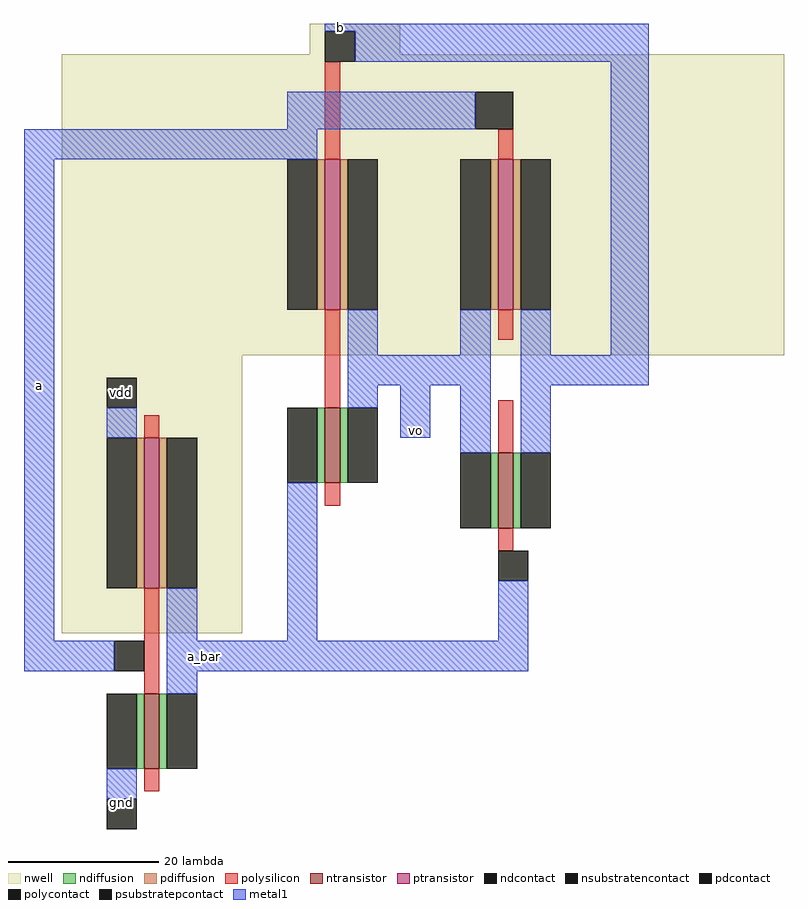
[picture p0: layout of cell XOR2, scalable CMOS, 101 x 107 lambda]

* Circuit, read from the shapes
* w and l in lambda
.subckt XOR2 a a_bar b gnd vdd vo
M1 a_bar a gnd gnd nfet w=10 l=2
M2 vo b a_bar gnd nfet w=10 l=2
M3 b a_bar vo gnd nfet w=10 l=2
M4 a_bar a vdd vdd pfet w=20 l=2
M5 vo b a vdd pfet w=20 l=2
M6 b a vo vdd pfet w=20 l=2
.ends

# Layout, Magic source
magic
tech scmos
<< nwell >>
rect 33 103 45 107
rect 0 63 96 103
rect 0 26 24 63
<< ntransistor >>
rect 35 46 37 56
rect 58 40 60 50
rect 11 8 13 18
<< ptransistor >>
rect 35 69 37 89
rect 58 69 60 89
rect 11 32 13 52
<< ndiffusion >>
rect 34 46 35 56
rect 37 46 38 56
rect 57 40 58 50
rect 60 40 61 50
rect 10 8 11 18
rect 13 8 14 18
<< pdiffusion >>
rect 34 69 35 89
rect 37 69 38 89
rect 57 69 58 89
rect 60 69 61 89
rect 10 32 11 52
rect 13 32 14 52
<< ndcontact >>
rect 30 46 34 56
rect 38 46 42 56
rect 53 40 57 50
rect 61 40 65 50
rect 6 8 10 18
rect 14 8 18 18
<< pdcontact >>
rect 30 69 34 89
rect 38 69 42 89
rect 53 69 57 89
rect 61 69 65 89
rect 6 32 10 52
rect 14 32 18 52
<< psubstratepcontact >>
rect 6 0 10 4
<< nsubstratencontact >>
rect 6 56 10 60
<< polysilicon >>
rect 35 89 37 102
rect 58 89 60 93
rect 35 56 37 69
rect 58 65 60 69
rect 11 52 13 55
rect 58 50 60 57
rect 35 43 37 46
rect 58 37 60 40
rect 11 18 13 32
rect 11 5 13 8
<< polycontact >>
rect 35 102 39 106
rect 55 93 60 98
rect 58 33 62 37
rect 7 21 11 25
<< metal1 >>
rect 35 106 78 107
rect 39 102 78 106
rect 30 93 55 98
rect -5 89 34 93
rect -5 25 -1 89
rect 38 63 42 69
rect 53 63 57 69
rect 38 59 57 63
rect 38 56 42 59
rect 6 52 10 56
rect 14 25 18 32
rect 45 52 49 59
rect 53 50 57 59
rect 30 25 34 46
rect 61 63 65 69
rect 73 63 78 102
rect 61 59 78 63
rect 61 50 65 59
rect 58 25 62 33
rect -5 21 7 25
rect 14 21 62 25
rect 14 18 18 21
rect 6 4 10 8
<< labels >>
rlabel metal1 6 57 10 59 5 vdd
rlabel metal1 6 3 10 4 1 gnd
rlabel metal1 -5 57 -1 61 3 a
rlabel metal1 35 106 39 107 5 b
rlabel metal1 45 52 49 54 1 vo
rlabel metal1 18 21 20 25 1 a_bar
<< end >>
